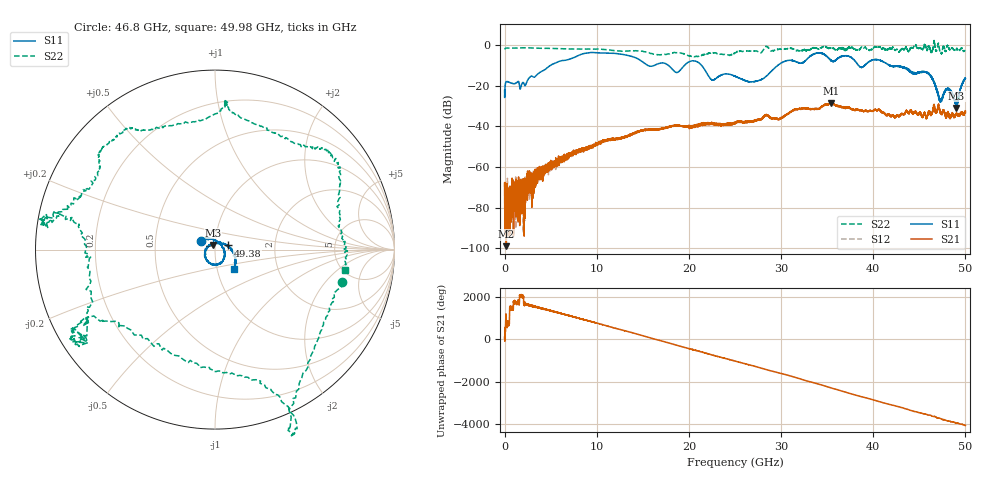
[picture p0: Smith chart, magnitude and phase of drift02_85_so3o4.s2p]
!Created with skrf (http://scikit-rf.org).
# Hz S RI R 50.0
!freq ReS11 ImS11 ReS21 ImS21 ReS12 ImS12 ReS22 ImS22
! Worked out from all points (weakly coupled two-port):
!   10001 points, 300 kHz to 50 GHz, reference 50 ohm
!   highest |S21| = -28.50 dB at 35.38 GHz (marker M1); lowest = -98.9 dB at 185.3 MHz (marker M2)
!   lowest |S11| = -31.0 dB at 49.02 GHz (marker M3), VSWR 1.06, Z = 48.9 + j2.58 ohm
!   |S11| at or under -10 dB: start of sweep to 4.956 GHz; 21.38 GHz to 29.63 GHz (8.25 GHz wide, 32.3 % of centre); 41.84 GHz to end of sweep (the widest 3 of 8)
!   |S22| runs from -5.7 to 2.3 dB; largest |S21 - S12| = 0.004
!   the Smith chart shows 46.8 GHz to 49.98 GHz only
!   S11 on the Smith chart (normalised r, x): 46.8 GHz: 0.86, +0.08; 49.38 GHz: 1.15, +0.05; 49.98 GHz: 1.21, -0.27
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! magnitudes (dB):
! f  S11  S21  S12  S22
! 300 kHz  -22.3  -68.0  -67.3  -2.1
! 185.3 MHz  -18.0  -98.9  -74.7  -1.4
! 1.875 GHz  -19.0  -72.3  -77.4  -1.3
! 3.515 GHz  -14.5  -61.3  -63.6  -1.5
! 8.335 GHz  -4.5  -51.6  -51.9  -1.9
! 16.67 GHz  -9.1  -41.3  -41.4  -4.7
! 18.7 GHz  -13.4  -39.3  -39.5  -3.7
! 20.6 GHz  -7.7  -39.7  -40.1  -5.7
! 22.51 GHz  -17.1  -39.0  -38.9  -3.7
! 25 GHz  -15.3  -38.3  -37.9  -3.9
! 27.5 GHz  -17.5  -36.7  -36.6  -3.3
! 33.34 GHz  -4.9  -31.4  -31.4  -1.6
! 35.38 GHz  -7.4  -28.5  -28.7  -1.4
! 41.67 GHz  -9.6  -34.1  -34.2  -1.9
! 45.81 GHz  -13.3  -35.5  -35.6  -2.3
! 46.8 GHz  -21.0  -33.3  -32.7  -2.7
! 47.27 GHz  -27.2  -33.5  -33.0  -3.3
! 48.11 GHz  -21.5  -32.8  -33.3  -0.6
! 49.02 GHz  -31.0  -34.1  -34.0  -2.1
! 49.38 GHz  -22.6  -34.2  -34.0  -2.5
! 49.98 GHz  -16.3  -33.3  -33.2  -2.7
! 50 GHz  -16.3  -33.2  -32.6  -2.7
